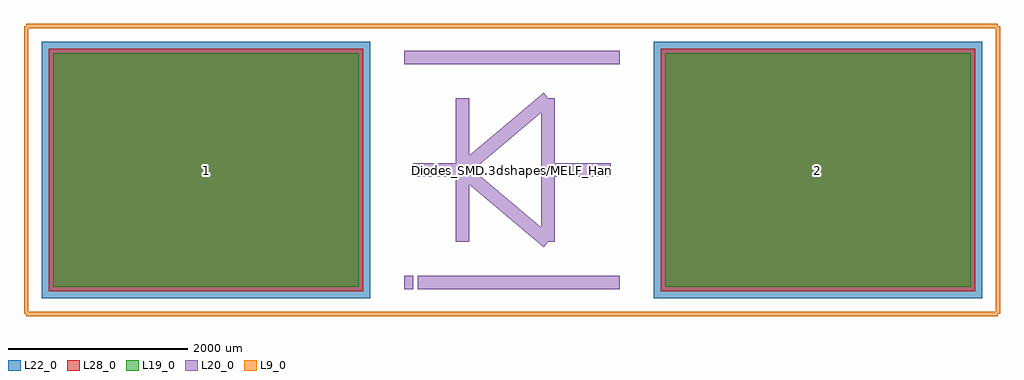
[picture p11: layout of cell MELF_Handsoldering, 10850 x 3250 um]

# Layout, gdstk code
import gdstk
lib = gdstk.Library(unit=1e-6, precision=1e-09)
def R(c, l, rs):  # rectangles x0, y0, x1, y1
    for r in rs: c.add(gdstk.rectangle(r[:2], r[2:], *l))
L9_0 = (9, 0)
L19_0 = (19, 0)
L20_0 = (20, 0)
L22_0 = (22, 0)
L28_0 = (28, 0)

melf_handsoldering = lib.new_cell('MELF_Handsoldering')
R(melf_handsoldering, L19_0, [(-5101.12,-1300.01,-1701,1300.01), (1701,-1300.01,5101.12,1300.01)])
R(melf_handsoldering, L22_0, [(-5226.12,-1425.01,-1576,1425.01), (1576,-1425.01,5226.12,1425.01)])
R(melf_handsoldering, L28_0, [(-5151.12,-1350.01,-1651,1350.01), (1651,-1350.01,5151.12,1350.01)])
melf_handsoldering.add(gdstk.FlexPath([(1198.88,-1249.68),(-1049.02,-1249.68)], 149.998, ends="flush", simple_path=True, layer=20, datatype=0))  # L20_0
melf_handsoldering.add(gdstk.FlexPath([(1198.88,1249.68),(-1150.62,1249.68)], 149.998, ends="flush", simple_path=True, layer=20, datatype=0))  # L20_0
melf_handsoldering.add(gdstk.FlexPath([(-1099.82,-1249.68),(-1198.88,-1249.68)], 149.998, ends="flush", simple_path=True, layer=20, datatype=0))  # L20_0
melf_handsoldering.add(gdstk.FlexPath([(-1099.82,1249.68),(-1198.88,1249.68)], 149.998, ends="flush", simple_path=True, layer=20, datatype=0))  # L20_0
melf_handsoldering.add(gdstk.FlexPath([(398.78,-800.1),(-551.18,0)], 149.998, ends="flush", simple_path=True, layer=20, datatype=0))  # L20_0
melf_handsoldering.add(gdstk.FlexPath([(398.78,800.1),(398.78,-800.1)], 149.998, ends="flush", simple_path=True, layer=20, datatype=0))  # L20_0
melf_handsoldering.add(gdstk.FlexPath([(-551.18,0),(398.78,800.1)], 149.998, ends="flush", simple_path=True, layer=20, datatype=0))  # L20_0
melf_handsoldering.add(gdstk.FlexPath([(-551.18,0),(-551.18,800.1)], 149.998, ends="flush", simple_path=True, layer=20, datatype=0))  # L20_0
melf_handsoldering.add(gdstk.FlexPath([(-551.18,0),(-551.18,-800.1)], 149.998, ends="flush", simple_path=True, layer=20, datatype=0))  # L20_0
melf_handsoldering.add(gdstk.FlexPath([(-551.18,0),(-1099.82,0)], 149.998, ends="flush", simple_path=True, layer=20, datatype=0))  # L20_0
melf_handsoldering.add(gdstk.FlexPath([(398.78,0),(1099.82,0)], 149.998, ends="flush", simple_path=True, layer=20, datatype=0))  # L20_0
melf_handsoldering.add(gdstk.FlexPath([(-5400,-1600),(-5400,1600)], 50, ends="flush", simple_path=True, layer=9, datatype=0))  # L9_0
melf_handsoldering.add(gdstk.FlexPath([(5400,-1600),(-5400,-1600)], 50, ends="flush", simple_path=True, layer=9, datatype=0))  # L9_0
melf_handsoldering.add(gdstk.FlexPath([(5400,1600),(5400,-1600)], 50, ends="flush", simple_path=True, layer=9, datatype=0))  # L9_0
melf_handsoldering.add(gdstk.FlexPath([(-5400,1600),(5400,1600)], 50, ends="flush", simple_path=True, layer=9, datatype=0))  # L9_0
melf_handsoldering.add(gdstk.Label('Diodes_SMD.3dshapes/MELF_Handsoldering.wrl', (0,0), layer=12, texttype=0))
melf_handsoldering.add(gdstk.Label('2', (3401.06,0), layer=28, texttype=0))
melf_handsoldering.add(gdstk.Label('1', (-3401.06,0), layer=28, texttype=0))
melf_handsoldering.add(gdstk.Label('A', (2350,-2500), layer=9, texttype=0))
melf_handsoldering.add(gdstk.Label('K', (-2550,-2450), layer=9, texttype=0))
melf_handsoldering.add(gdstk.Label('type', (0,-3810), layer=9, texttype=0))
melf_handsoldering.add(gdstk.Label('devicename', (0,2540), layer=9, texttype=0))

lib.write_gds('MELF_Handsoldering.gds')
